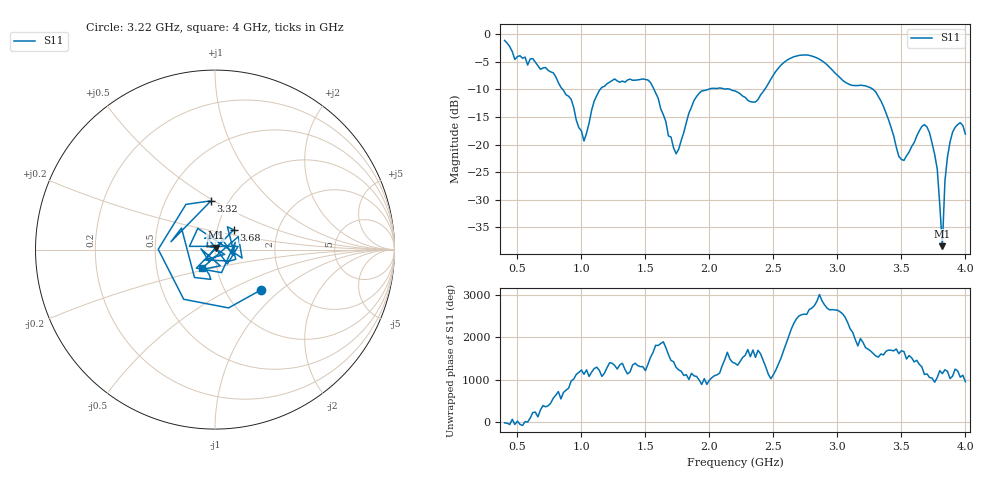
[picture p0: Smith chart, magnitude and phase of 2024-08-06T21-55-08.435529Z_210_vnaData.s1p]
!Created with skrf (http://scikit-rf.org).
# Hz S RI R 50.0
!freq ReS11 ImS11
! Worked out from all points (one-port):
!   181 points, 400 MHz to 4 GHz, reference 50 ohm
!   lowest |S11| = -38.4 dB at 3.82 GHz (marker M1), VSWR 1.02, Z = 50.4 + j1.12 ohm
!   |S11| at or under -10 dB: 853.8 MHz to 1.147 GHz (292.9 MHz wide, 29.3 % of centre); 1.567 GHz to 1.989 GHz (422.1 MHz wide, 23.7 % of centre); 3.28 GHz to end of sweep (the widest 3 of 4)
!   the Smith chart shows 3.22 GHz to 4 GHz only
!   S11 on the Smith chart (normalised r, x): 3.22 GHz: 1.46, -0.74; 3.32 GHz: 0.83, +0.49; 3.68 GHz: 1.20, +0.27; 4 GHz: 0.85, -0.18
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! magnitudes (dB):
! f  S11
! 400 MHz  -1.1
! 480 MHz  -4.6
! 620 MHz  -4.4
! 860 MHz  -10.2
! 920 MHz  -11.8
! 1.02 GHz  -19.3
! 1.14 GHz  -10.2
! 1.3 GHz  -8.7
! 1.54 GHz  -8.8
! 1.68 GHz  -18.4
! 1.76 GHz  -20.8
! 1.92 GHz  -10.7
! 2.2 GHz  -10.3
! 2.36 GHz  -12.3
! 2.66 GHz  -4.1
! 2.84 GHz  -4.3
! 3.1 GHz  -9.2
! 3.22 GHz  -9.4
! 3.32 GHz  -11.3
! 3.48 GHz  -22.1
! 3.56 GHz  -21.4
! 3.68 GHz  -16.4
! 3.78 GHz  -24.4
! 3.82 GHz  -38.4
! 3.84 GHz  -26.6
! 3.88 GHz  -19.5
! 3.96 GHz  -16.0
! 4 GHz  -18.1
